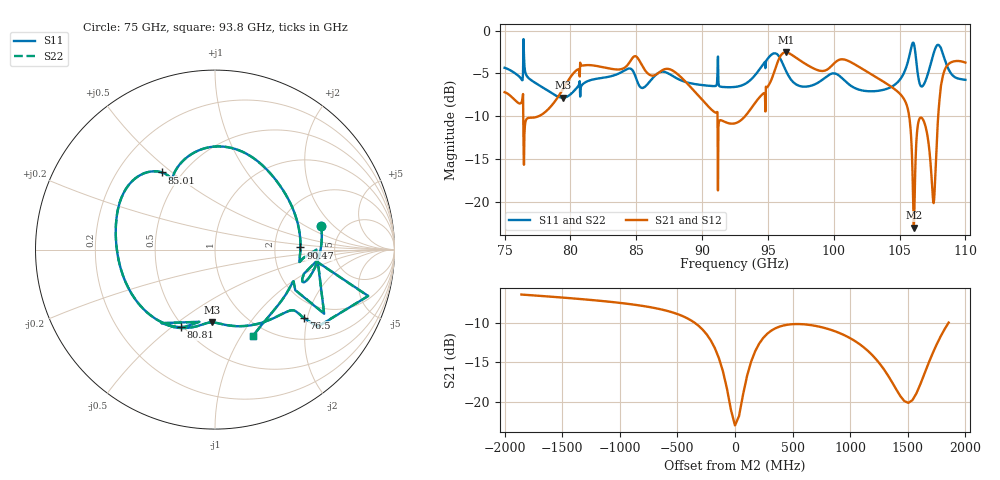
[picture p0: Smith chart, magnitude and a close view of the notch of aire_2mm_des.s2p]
! TOUCHSTONE file generated by CST MICROWAVE STUDIO
! Date and time: Wed Feb  7 21:13:29 2024
! Project name: aire_des.cst
! Header version: 2018
! Port assignment regex: !\s*Touchstone port\s*([0-9]+)\s*=\s*(CST MWS port|CST DS port)\s*([0-9]+|Zmin|Zmax)\s*\(\"(.*)\"\)(\s*mode\s*([0-9]+))?.*
! Touchstone port assignment:
! Touchstone port 1 = CST MWS port 1 ("")
! Touchstone port 2 = CST MWS port 2 ("")
# GHz S MA R 376.7
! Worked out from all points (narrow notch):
!   1001 points, 75 GHz to 110 GHz, reference 376.7 ohm
!   highest |S21| = -2.54 dB at 96.35 GHz (marker M1); lowest = -23.0 dB at 106.1 GHz (marker M2)
!   notch at M2: 17.7 dB deep, 310 MHz wide at half that depth
!   lowest |S11| = -7.8 dB at 79.41 GHz (marker M3), VSWR 2.36, Z = 264 - j256 ohm
!   |S11| at or under -10 dB: nowhere
!   |S22| runs from -7.8 to -1.0 dB; largest |S21 - S12| = 0.00083
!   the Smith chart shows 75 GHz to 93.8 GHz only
!   S11 on the Smith chart (normalised r, x): 75 GHz: 3.43, +1.44; 76.5 GHz: 1.52, -1.89; 80.81 GHz: 0.48, -0.54; 85.01 GHz: 0.39, +0.46; 90.47 GHz: 2.82, +0.09; 93.8 GHz: 0.85, -1.13
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75  0.6062 12.7  0.4366 158.8  0.4367 158.8  0.6064 12.7
76.505  0.6228 -37.6  0.2489 160.0  0.2489 160.0  0.622 -37.6
79.41  0.4056 -92.0  0.4523 144.8  0.4523 144.8  0.4057 -91.9
80.81  0.4725 -114.0  0.6261 120.2  0.6261 120.2  0.4728 -114.0
80.845  0.478 -115.6  0.6248 118.8  0.6248 118.8  0.4782 -115.6
83.435  0.5518 176.2  0.5932 73.1  0.5932 73.1  0.5517 176.2
85.01  0.5211 124.5  0.7045 45.5  0.7045 45.5  0.5208 124.4
86.69  0.5665 96.3  0.5659 24.9  0.5659 24.9  0.5664 96.3
90.47  0.4765 1.5  0.3607 -33.4  0.3607 -33.4  0.4762 1.5
92.5  0.4688 -42.4  0.2874 -29.9  0.2874 -29.9  0.4689 -42.3
93.795  0.525 -66.3  0.3575 -27.6  0.3575 -27.6  0.5255 -66.3
95.265  0.723 -110.5  0.5168 -36.7  0.5168 -36.7  0.7232 -110.5
96.35  0.5865 -156.1  0.7465 -67.8  0.7465 -67.8  0.5864 -156.0
98.345  0.4781 171.4  0.6077 -109.0  0.6077 -109.0  0.4779 171.5
100.48  0.5401 114.1  0.6775 -136.4  0.6775 -136.4  0.5398 114.2
104.19  0.4617 42.1  0.48 156.4  0.4801 156.4  0.4622 42.2
105.555  0.6276 18.3  0.3648 117.0  0.3649 117.0  0.6282 18.3
106.08  0.8407 -17.0  0.07066 -26.6  0.07048 -26.5  0.8411 -16.9
106.675  0.4714 -28.3  0.3096 164.6  0.3096 164.6  0.4725 -28.2
107.585  0.735 -38.1  0.09827 -179.6  0.09827 -179.6  0.7357 -38.0
108.075  0.8058 -69.5  0.4234 -151.7  0.4234 -151.7  0.8058 -69.4
110  0.5157 -116.0  0.6501 127.6  0.6501 127.6  0.5159 -115.9
